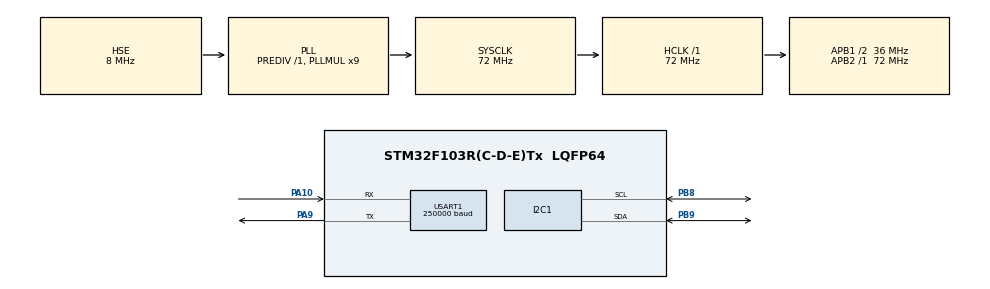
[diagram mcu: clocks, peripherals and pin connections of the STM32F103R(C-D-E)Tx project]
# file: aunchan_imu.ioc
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Dma.Request0=USART1_RX
Dma.Request1=USART1_TX
Dma.USART1_RX.0.Direction=DMA_PERIPH_TO_MEMORY
Dma.USART1_RX.0.Instance=DMA1_Channel5
Dma.USART1_RX.0.MemDataAlignment=DMA_MDATAALIGN_BYTE
Dma.USART1_RX.0.MemInc=DMA_MINC_ENABLE
Dma.USART1_RX.0.Mode=DMA_NORMAL
Dma.USART1_RX.0.PeriphDataAlignment=DMA_PDATAALIGN_BYTE
Dma.USART1_RX.0.PeriphInc=DMA_PINC_DISABLE
Dma.USART1_RX.0.Priority=DMA_PRIORITY_VERY_HIGH
Dma.USART1_TX.1.Direction=DMA_MEMORY_TO_PERIPH
Dma.USART1_TX.1.Instance=DMA1_Channel4
Dma.USART1_TX.1.MemDataAlignment=DMA_MDATAALIGN_BYTE
Dma.USART1_TX.1.MemInc=DMA_MINC_ENABLE
Dma.USART1_TX.1.Mode=DMA_NORMAL
Dma.USART1_TX.1.PeriphDataAlignment=DMA_PDATAALIGN_BYTE
Dma.USART1_TX.1.PeriphInc=DMA_PINC_DISABLE
Dma.USART1_TX.1.Priority=DMA_PRIORITY_VERY_HIGH
I2C1.I2C_Mode=I2C_Fast
Mcu.Family=STM32F1
Mcu.Name=STM32F103R(C-D-E)Tx
Mcu.Package=LQFP64
NVIC.DMA1_Channel4_IRQn=true\:0\:0\:false\:false\:true\:false
NVIC.DMA1_Channel5_IRQn=true\:0\:0\:false\:false\:true\:false
NVIC.PriorityGroup=NVIC_PRIORITYGROUP_4
NVIC.USART1_IRQn=true\:0\:0\:false\:false\:true\:true
PA10.Mode=Asynchronous
PA10.Signal=USART1_RX
PA9.Mode=Asynchronous
PA9.Signal=USART1_TX
PB8.Mode=I2C
PB8.Signal=I2C1_SCL
PB9.Mode=I2C
PB9.Signal=I2C1_SDA
PD0-OSC_IN.Mode=HSE-External-Oscillator
PD0-OSC_IN.Signal=RCC_OSC_IN
PD1-OSC_OUT.Mode=HSE-External-Oscillator
PD1-OSC_OUT.Signal=RCC_OSC_OUT
ProjectManager.HeapSize=0x200
ProjectManager.StackSize=0x400
ProjectManager.TargetToolchain=SW4STM32
RCC.AHBFreq_Value=72000000
RCC.APB1CLKDivider=RCC_HCLK_DIV2
RCC.APB1Freq_Value=36000000
RCC.APB1TimFreq_Value=72000000
RCC.APB2Freq_Value=72000000
RCC.APB2TimFreq_Value=72000000
RCC.HCLKFreq_Value=72000000
RCC.PLLMUL=RCC_PLL_MUL9
RCC.PLLSourceVirtual=RCC_PLLSOURCE_HSE
RCC.SYSCLKFreq_VALUE=72000000
RCC.SYSCLKSource=RCC_SYSCLKSOURCE_PLLCLK
RCC.USBFreq_Value=72000000
USART1.BaudRate=250000
USART1.VirtualMode=VM_ASYNC
VP_SYS_VS_ND.Mode=No_Debug
board=aunchan_imu

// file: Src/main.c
/**
  ******************************************************************************
  * @file           : main.c
  * @brief          : Main program body
  ******************************************************************************
  ** This notice applies to any and all portions of this file
  * that are not between comment pairs USER CODE BEGIN and
  * USER CODE END. Other portions of this file, whether
  * inserted by the user or by software development tools
  * are owned by their respective copyright owners.
  *
  * COPYRIGHT(c) 2018 STMicroelectronics
  *
  * Redistribution and use in source and binary forms, with or without modification,
  * are permitted provided that the following conditions are met:
  *   1. Redistributions of source code must retain the above copyright notice,
  *      this list of conditions and the following disclaimer.
  *   2. Redistributions in binary form must reproduce the above copyright notice,
  *      this list of conditions and the following disclaimer in the documentation
  *      and/or other materials provided with the distribution.
  *   3. Neither the name of STMicroelectronics nor the names of its contributors
  *      may be used to endorse or promote products derived from this software
  *      without specific prior written permission.
  *
  * THIS SOFTWARE IS PROVIDED BY THE COPYRIGHT HOLDERS AND CONTRIBUTORS "AS IS"
  * AND ANY EXPRESS OR IMPLIED WARRANTIES, INCLUDING, BUT NOT LIMITED TO, THE
  * IMPLIED WARRANTIES OF MERCHANTABILITY AND FITNESS FOR A PARTICULAR PURPOSE ARE
  * DISCLAIMED. IN NO EVENT SHALL THE COPYRIGHT HOLDER OR CONTRIBUTORS BE LIABLE
  * FOR ANY DIRECT, INDIRECT, INCIDENTAL, SPECIAL, EXEMPLARY, OR CONSEQUENTIAL
  * DAMAGES (INCLUDING, BUT NOT LIMITED TO, PROCUREMENT OF SUBSTITUTE GOODS OR
  * SERVICES; LOSS OF USE, DATA, OR PROFITS; OR BUSINESS INTERRUPTION) HOWEVER
  * CAUSED AND ON ANY THEORY OF LIABILITY, WHETHER IN CONTRACT, STRICT LIABILITY,
  * OR TORT (INCLUDING NEGLIGENCE OR OTHERWISE) ARISING IN ANY WAY OUT OF THE USE
  * OF THIS SOFTWARE, EVEN IF ADVISED OF THE POSSIBILITY OF SUCH DAMAGE.
  *
  ******************************************************************************
  */
#include "main.h"
#include "stm32f1xx_hal.h"

/* USER CODE BEGIN Includes */
#include "mpu6050.h"
#include "mainpp.h"
/* USER CODE END Includes */

I2C_HandleTypeDef hi2c1;

UART_HandleTypeDef huart1;
DMA_HandleTypeDef hdma_usart1_rx;
DMA_HandleTypeDef hdma_usart1_tx;

/* USER CODE BEGIN PV */
/* Private variables ---------------------------------------------------------*/

/* USER CODE END PV */

void SystemClock_Config(void);
static void MX_GPIO_Init(void);
static void MX_DMA_Init(void);
static void MX_USART1_UART_Init(void);
static void MX_I2C1_Init(void);

/* USER CODE BEGIN PFP */
/* Private function prototypes -----------------------------------------------*/
#ifdef __GNUC__
/* With GCC, small printf (option LD Linker->Libraries->Small printf
   set to 'Yes') calls __io_putchar() */
#define PUTCHAR_PROTOTYPE int __io_putchar(int ch)
#else
#define PUTCHAR_PROTOTYPE int fputc(int ch, FILE *f)
#endif /* __GNUC__ */
/* USER CODE END PFP */

int main(void)
{

  /* MCU Configuration----------------------------------------------------------*/

  /* Reset of all peripherals, Initializes the Flash interface and the Systick. */
  HAL_Init();

  /* Configure the system clock */
  SystemClock_Config();

  /* Initialize all configured peripherals */
  MX_GPIO_Init();
  MX_DMA_Init();
  MX_USART1_UART_Init();
  MX_I2C1_Init();
  /* USER CODE BEGIN 2 */
  Imu mpu6050;
  mpu6050_init();

  /* USER CODE END 2 */

  /* Infinite loop */
  while (1)
  {

  /* USER CODE BEGIN 3 */
	  mpu6050_read(mpu6050.gyro, mpu6050.accel, mpu6050.quat);
	  mpu6050.gyro[0] = (mpu6050.gyro[0] * PI)/180;
	  mpu6050.gyro[1] = (mpu6050.gyro[1] * PI)/180;
	  mpu6050.gyro[2] = (mpu6050.gyro[2] * PI)/180;
	  mpu6050.accel[0] = mpu6050.accel[0] * 9.80665;
	  mpu6050.accel[1] = mpu6050.accel[1] * 9.80665;
	  mpu6050.accel[2] = mpu6050.accel[2] * 9.80665;
	  imu2ros(mpu6050);
	  //printf("Quat :: W = %f X = %f Y = %f Z = %f ",mpu6050.gyro[0], mpu6050.gyro[1], mpu6050.gyro[2], mpu6050.gyro[3]);
	  //printf("Accel:: X = %f Y = %f Z = %f ",mpu6050.accel[0],mpu6050.accel[1],mpu6050.accel[2]);
	  //printf("Gyro :: X = %f Y = %f Z = %f\r\n",mpu6050.gyro[0],mpu6050.gyro[1],mpu6050.gyro[2]);
	  HAL_Delay(50);

  }
  /* USER CODE END 3 */

}

void SystemClock_Config(void)
{

  RCC_OscInitTypeDef RCC_OscInitStruct;
  RCC_ClkInitTypeDef RCC_ClkInitStruct;

    /**Initializes the CPU, AHB and APB busses clocks
    */
  RCC_OscInitStruct.OscillatorType = RCC_OSCILLATORTYPE_HSE;
  RCC_OscInitStruct.HSEState = RCC_HSE_ON;
  RCC_OscInitStruct.HSEPredivValue = RCC_HSE_PREDIV_DIV1;
  RCC_OscInitStruct.HSIState = RCC_HSI_ON;
  RCC_OscInitStruct.PLL.PLLState = RCC_PLL_ON;
  RCC_OscInitStruct.PLL.PLLSource = RCC_PLLSOURCE_HSE;
  RCC_OscInitStruct.PLL.PLLMUL = RCC_PLL_MUL9;
  if (HAL_RCC_OscConfig(&RCC_OscInitStruct) != HAL_OK)
  {
    _Error_Handler(__FILE__, __LINE__);
  }

    /**Initializes the CPU, AHB and APB busses clocks
    */
  RCC_ClkInitStruct.ClockType = RCC_CLOCKTYPE_HCLK|RCC_CLOCKTYPE_SYSCLK
                              |RCC_CLOCKTYPE_PCLK1|RCC_CLOCKTYPE_PCLK2;
  RCC_ClkInitStruct.SYSCLKSource = RCC_SYSCLKSOURCE_PLLCLK;
  RCC_ClkInitStruct.AHBCLKDivider = RCC_SYSCLK_DIV1;
  RCC_ClkInitStruct.APB1CLKDivider = RCC_HCLK_DIV2;
  RCC_ClkInitStruct.APB2CLKDivider = RCC_HCLK_DIV1;

  if (HAL_RCC_ClockConfig(&RCC_ClkInitStruct, FLASH_LATENCY_2) != HAL_OK)
  {
    _Error_Handler(__FILE__, __LINE__);
  }

    /**Configure the Systick interrupt time
    */
  HAL_SYSTICK_Config(HAL_RCC_GetHCLKFreq()/1000);

    /**Configure the Systick
    */
  HAL_SYSTICK_CLKSourceConfig(SYSTICK_CLKSOURCE_HCLK);

  /* SysTick_IRQn interrupt configuration */
  HAL_NVIC_SetPriority(SysTick_IRQn, 0, 0);
}

/* I2C1 init function */
static void MX_I2C1_Init(void)
{

  hi2c1.Instance = I2C1;
  hi2c1.Init.ClockSpeed = 400000;
  hi2c1.Init.DutyCycle = I2C_DUTYCYCLE_2;
  hi2c1.Init.OwnAddress1 = 0;
  hi2c1.Init.AddressingMode = I2C_ADDRESSINGMODE_7BIT;
  hi2c1.Init.DualAddressMode = I2C_DUALADDRESS_DISABLE;
  hi2c1.Init.OwnAddress2 = 0;
  hi2c1.Init.GeneralCallMode = I2C_GENERALCALL_DISABLE;
  hi2c1.Init.NoStretchMode = I2C_NOSTRETCH_DISABLE;
  if (HAL_I2C_Init(&hi2c1) != HAL_OK)
  {
    _Error_Handler(__FILE__, __LINE__);
  }

}

/* USART1 init function */
static void MX_USART1_UART_Init(void)
{

  huart1.Instance = USART1;
  huart1.Init.BaudRate = 250000;
  huart1.Init.WordLength = UART_WORDLENGTH_8B;
  huart1.Init.StopBits = UART_STOPBITS_1;
  huart1.Init.Parity = UART_PARITY_NONE;
  huart1.Init.Mode = UART_MODE_TX_RX;
  huart1.Init.HwFlowCtl = UART_HWCONTROL_NONE;
  huart1.Init.OverSampling = UART_OVERSAMPLING_16;
  if (HAL_UART_Init(&huart1) != HAL_OK)
  {
    _Error_Handler(__FILE__, __LINE__);
  }

}

static void MX_DMA_Init(void)
{
  /* DMA controller clock enable */
  __HAL_RCC_DMA1_CLK_ENABLE();

  /* DMA interrupt init */
  /* DMA1_Channel4_IRQn interrupt configuration */
  HAL_NVIC_SetPriority(DMA1_Channel4_IRQn, 0, 0);
  HAL_NVIC_EnableIRQ(DMA1_Channel4_IRQn);
  /* DMA1_Channel5_IRQn interrupt configuration */
  HAL_NVIC_SetPriority(DMA1_Channel5_IRQn, 0, 0);
  HAL_NVIC_EnableIRQ(DMA1_Channel5_IRQn);

}

/** Configure pins as
        * Analog
        * Input
        * Output
        * EVENT_OUT
        * EXTI
*/
static void MX_GPIO_Init(void)
{

  /* GPIO Ports Clock Enable */
  __HAL_RCC_GPIOD_CLK_ENABLE();
  __HAL_RCC_GPIOA_CLK_ENABLE();
  __HAL_RCC_GPIOB_CLK_ENABLE();

}

/* USER CODE BEGIN 4 */
PUTCHAR_PROTOTYPE
{
  /* Place your implementation of fputc here */
  /* e.g. write a character to the USART1 and Loop until the end of transmission */
  HAL_UART_Transmit(&huart1, (uint8_t *)&ch, 1, 0xFFFF);

  return ch;
}
/* USER CODE END 4 */

void _Error_Handler(char *file, int line)
{
  while(1)
  {
  }
}

/************************ (C) COPYRIGHT STMicroelectronics *****END OF FILE****/
